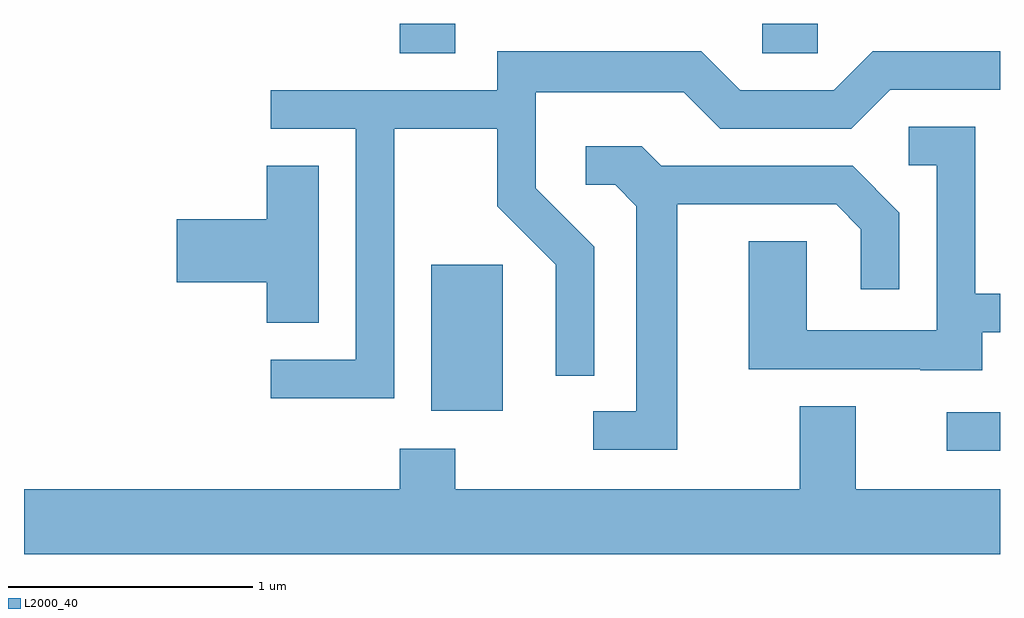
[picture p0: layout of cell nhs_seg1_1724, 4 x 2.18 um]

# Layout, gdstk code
import gdstk
lib = gdstk.Library(unit=1e-6, precision=1e-09)
def R(c, l, rs):  # rectangles x0, y0, x1, y1
    for r in rs: c.add(gdstk.rectangle(r[:2], r[2:], *l))
def P(c, l, *ps):  # polygons
    for p in ps: c.add(gdstk.Polygon(p, *l))
L2000_40 = (2000, 40)

nhs_seg1_1724 = lib.new_cell('nhs_seg1_1724')
R(nhs_seg1_1724, L2000_40, [(241.393,939.961,241.611,940.119), (239.281,940.126,239.574,940.724), (239.151,941.591,239.379,941.712), (240.636,941.591,240.864,941.712)])
P(nhs_seg1_1724, L2000_40, [(239.129,941.281),(239.551,941.281),(239.551,940.964),(239.791,940.724),(239.791,940.268),(239.949,940.268),(239.949,940.797),(239.709,941.037),(239.709,941.431),(240.314,941.431),(240.464,941.281),(241.002,941.281),(241.162,941.441),(241.611,941.441),(241.611,941.599),(241.089,941.599),(240.929,941.439),(240.547,941.439),(240.387,941.599),(239.551,941.599),(239.551,941.439),(238.623,941.439),(238.623,941.281),(238.971,941.281),(238.971,940.334),(238.623,940.334),(238.623,940.176),(239.129,940.176)],
  [(241.539,940.446),(241.611,940.446),(241.611,940.604),(241.509,940.604),(241.509,941.289),(241.238,941.289),(241.238,941.131),(241.351,941.131),(241.351,940.454),(240.819,940.454),(240.819,940.819),(240.581,940.819),(240.581,940.296),(241.285,940.296),(241.285,940.291),(241.539,940.291)],
  [(240.289,940.971),(240.939,940.971),(241.041,940.869),(241.041,940.623),(241.199,940.623),(241.199,940.937),(241.007,941.129),(240.222,941.129),(240.142,941.209),(239.913,941.209),(239.913,941.051),(240.034,941.051),(240.121,940.964),(240.121,940.124),(239.943,940.124),(239.943,939.966),(240.289,939.966)],
  [(238.819,941.129),(238.606,941.129),(238.606,940.909),(238.236,940.909),(238.236,940.651),(238.606,940.651),(238.606,940.486),(238.819,940.486)],
  [(241.611,939.804),(241.019,939.804),(241.019,940.144),(240.791,940.144),(240.791,939.804),(239.379,939.804),(239.379,939.969),(239.151,939.969),(239.151,939.804),(237.611,939.804),(237.611,939.536),(241.611,939.536)])

lib.write_gds('nhs_seg1_1724.gds')
